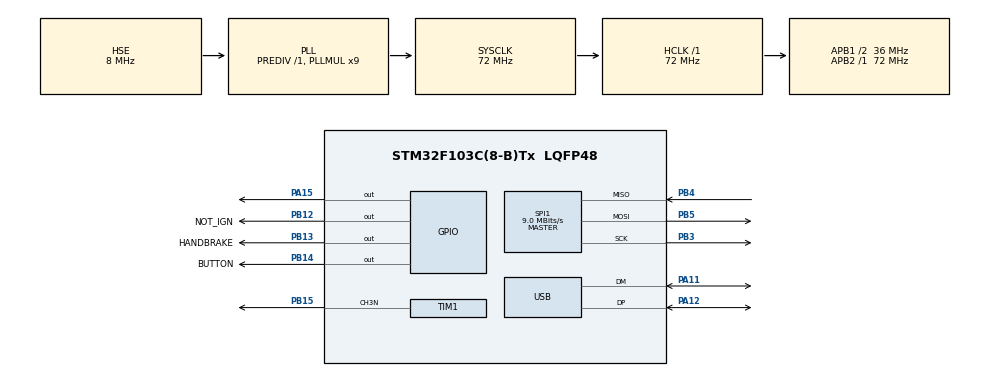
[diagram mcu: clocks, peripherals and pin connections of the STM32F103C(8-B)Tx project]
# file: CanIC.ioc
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Mcu.Family=STM32F1
PC15-OSC32_OUT.Mode=LSE-External-Oscillator
USB_DEVICE.CLASS_NAME_FS=CDC
PD1-OSC_OUT.Mode=HSE-External-Oscillator
SPI1.VirtualType=VM_MASTER
USB_DEVICE.VirtualModeFS=Cdc_FS
PB14.GPIO_Label=BUTTON
RCC.USBPrescaler=RCC_USBCLKSOURCE_PLL_DIV1_5
PA11.Mode=Device
PD0-OSC_IN.Signal=RCC_OSC_IN
RCC.APB1CLKDivider=RCC_HCLK_DIV2
PC14-OSC32_IN.Signal=RCC_OSC32_IN
PB13.GPIO_Label=HANDBRAKE
PB13.Signal=GPIO_Output
PB15.Signal=TIM1_CH3N
RCC.SYSCLKSource=RCC_SYSCLKSOURCE_PLLCLK
ProjectManager.StackSize=0x400
PD1-OSC_OUT.Signal=RCC_OSC_OUT
PA13.Signal=SYS_JTMS-SWDIO
PA12.Signal=USB_DP
ProjectManager.TargetToolchain=STM32CubeIDE
USB_DEVICE.PRODUCT_STRING_CDC_FS=CanIC
SPI1.Direction=SPI_DIRECTION_2LINES
RCC.HCLKFreq_Value=72000000
VP_USB_DEVICE_VS_USB_DEVICE_CDC_FS.Mode=CDC_FS
RCC.APB2TimFreq_Value=72000000
PB12.PinState=GPIO_PIN_SET
SPI1.CalculateBaudRate=9.0 MBits/s
RCC.USBFreq_Value=48000000
TIM1.Channel-PWM\ Generation3\ CH3N=TIM_CHANNEL_3
PC15-OSC32_OUT.Signal=RCC_OSC32_OUT
RCC.AHBFreq_Value=72000000
PD0-OSC_IN.Mode=HSE-External-Oscillator
TIM1.Pulse-PWM\ Generation3\ CH3N=3000
PB14.Signal=GPIO_Output
PB3.Mode=Full_Duplex_Master
board=custom
RCC.PLLMUL=RCC_PLL_MUL9
PB15.Mode=PWM Generation3 CH3N
PB12.GPIO_Label=NOT_IGN
PA15.PinState=GPIO_PIN_SET
RCC.APB2Freq_Value=72000000
PB4.Mode=Full_Duplex_Master
PC14-OSC32_IN.Mode=LSE-External-Oscillator
SPI1.Mode=SPI_MODE_MASTER
PA14.Mode=Serial_Wire
NVIC.USB_LP_CAN1_RX0_IRQn=true\:0\:0\:false\:false\:true\:true\:true
PB5.Mode=Full_Duplex_Master
PA13.Mode=Serial_Wire
Mcu.Name=STM32F103C(8-B)Tx
VP_TIM1_VS_ClockSourceINT.Mode=Internal
PB3.Signal=SPI1_SCK
RCC.SYSCLKFreq_VALUE=72000000
Mcu.Package=LQFP48
PB5.Signal=SPI1_MOSI
PA12.Mode=Device
PA15.GPIO_Speed=GPIO_SPEED_FREQ_MEDIUM
PA11.Signal=USB_DM
PA14.Signal=SYS_JTCK-SWCLK
PA15.Signal=GPIO_Output
ProjectManager.HeapSize=0x200
NVIC.PriorityGroup=NVIC_PRIORITYGROUP_4
PA15.GPIO_PuPd=GPIO_PULLUP
RCC.APB1TimFreq_Value=72000000
TIM1.Period=10000
RCC.APB1Freq_Value=36000000
SPI1.BaudRatePrescaler=SPI_BAUDRATEPRESCALER_8
USB_DEVICE.VirtualMode=Cdc
PB12.Signal=GPIO_Output
PB4.Signal=SPI1_MISO

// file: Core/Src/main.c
/* USER CODE BEGIN Header */
/**
  ******************************************************************************
  * @file           : main.c
  * @brief          : Main program body
  ******************************************************************************
  * @attention
  *
  * <h2><center>&copy; Copyright (c) 2021 STMicroelectronics.
  * All rights reserved.</center></h2>
  *
  * This software component is licensed by ST under BSD 3-Clause license,
  * the "License"; You may not use this file except in compliance with the
  * License. You may obtain a copy of the License at:
  *                        opensource.org/licenses/BSD-3-Clause
  *
  ******************************************************************************
  */
/* USER CODE END Header */
#include "main.h"
#include "usb_device.h"

/* USER CODE BEGIN Includes */
#include "CANSPI.h"

#include "sender.h"
#include "MCP2515.h"
/* USER CODE END Includes */

SPI_HandleTypeDef hspi1;

TIM_HandleTypeDef htim1;

/* USER CODE BEGIN PV */

uCAN_MSG txMessage;
uCAN_MSG rxMessage;
/* USER CODE END PV */

void SystemClock_Config(void);
static void MX_GPIO_Init(void);
static void MX_SPI1_Init(void);
static void MX_TIM1_Init(void);

int main(void)
{

  /* MCU Configuration--------------------------------------------------------*/

  /* Reset of all peripherals, Initializes the Flash interface and the Systick. */
  HAL_Init();

  /* USER CODE BEGIN Init */
  LoadCanFramesDefaultData();
  /* USER CODE END Init */

  /* Configure the system clock */
  SystemClock_Config();

  /* USER CODE BEGIN SysInit */

  /*workaround to reset usb after flash*/
   GPIO_InitTypeDef GPIO_InitStruct = {0};
   __HAL_RCC_GPIOA_CLK_ENABLE();
   HAL_GPIO_WritePin(GPIOA, GPIO_PIN_12, GPIO_PIN_RESET);
   GPIO_InitStruct.Pin = GPIO_PIN_12;
   GPIO_InitStruct.Mode = GPIO_MODE_OUTPUT_PP;
   GPIO_InitStruct.Pull = GPIO_PULLUP;
   GPIO_InitStruct.Speed = GPIO_SPEED_FREQ_MEDIUM;
   HAL_GPIO_Init(GPIOA, &GPIO_InitStruct);
   HAL_Delay(5);

  /* USER CODE END SysInit */

  /* Initialize all configured peripherals */
  MX_GPIO_Init();
  MX_SPI1_Init();
  MX_TIM1_Init();
  MX_USB_DEVICE_Init();
  /* USER CODE BEGIN 2 */

  /* fuel pwm */
  HAL_TIMEx_PWMN_Start(&htim1,TIM_CHANNEL_3);

  /* mcp reset solves issue that can is not running correctly */
  /*MCP2515_Reset();
  HAL_Delay(50);*/

  CANSPI_Initialize();

  HAL_GPIO_WritePin(NOT_IGN_GPIO_Port, NOT_IGN_Pin, GPIO_PIN_RESET);

  /* USER CODE END 2 */

  /* Infinite loop */
  while (1)
  {

    /* USER CODE BEGIN 3 */

    run();
  }
  /* USER CODE END 3 */
}

void SystemClock_Config(void)
{
  RCC_OscInitTypeDef RCC_OscInitStruct = {0};
  RCC_ClkInitTypeDef RCC_ClkInitStruct = {0};
  RCC_PeriphCLKInitTypeDef PeriphClkInit = {0};

  /** Initializes the RCC Oscillators according to the specified parameters
  * in the RCC_OscInitTypeDef structure.
  */
  RCC_OscInitStruct.OscillatorType = RCC_OSCILLATORTYPE_HSE;
  RCC_OscInitStruct.HSEState = RCC_HSE_ON;
  RCC_OscInitStruct.HSEPredivValue = RCC_HSE_PREDIV_DIV1;
  RCC_OscInitStruct.HSIState = RCC_HSI_ON;
  RCC_OscInitStruct.PLL.PLLState = RCC_PLL_ON;
  RCC_OscInitStruct.PLL.PLLSource = RCC_PLLSOURCE_HSE;
  RCC_OscInitStruct.PLL.PLLMUL = RCC_PLL_MUL9;
  if (HAL_RCC_OscConfig(&RCC_OscInitStruct) != HAL_OK)
  {
    Error_Handler();
  }
  /** Initializes the CPU, AHB and APB buses clocks
  */
  RCC_ClkInitStruct.ClockType = RCC_CLOCKTYPE_HCLK|RCC_CLOCKTYPE_SYSCLK
                              |RCC_CLOCKTYPE_PCLK1|RCC_CLOCKTYPE_PCLK2;
  RCC_ClkInitStruct.SYSCLKSource = RCC_SYSCLKSOURCE_PLLCLK;
  RCC_ClkInitStruct.AHBCLKDivider = RCC_SYSCLK_DIV1;
  RCC_ClkInitStruct.APB1CLKDivider = RCC_HCLK_DIV2;
  RCC_ClkInitStruct.APB2CLKDivider = RCC_HCLK_DIV1;

  if (HAL_RCC_ClockConfig(&RCC_ClkInitStruct, FLASH_LATENCY_2) != HAL_OK)
  {
    Error_Handler();
  }
  PeriphClkInit.PeriphClockSelection = RCC_PERIPHCLK_USB;
  PeriphClkInit.UsbClockSelection = RCC_USBCLKSOURCE_PLL_DIV1_5;
  if (HAL_RCCEx_PeriphCLKConfig(&PeriphClkInit) != HAL_OK)
  {
    Error_Handler();
  }
}

static void MX_SPI1_Init(void)
{

  /* SPI1 parameter configuration*/
  hspi1.Instance = SPI1;
  hspi1.Init.Mode = SPI_MODE_MASTER;
  hspi1.Init.Direction = SPI_DIRECTION_2LINES;
  hspi1.Init.DataSize = SPI_DATASIZE_8BIT;
  hspi1.Init.CLKPolarity = SPI_POLARITY_LOW;
  hspi1.Init.CLKPhase = SPI_PHASE_1EDGE;
  hspi1.Init.NSS = SPI_NSS_SOFT;
  hspi1.Init.BaudRatePrescaler = SPI_BAUDRATEPRESCALER_8;
  hspi1.Init.FirstBit = SPI_FIRSTBIT_MSB;
  hspi1.Init.TIMode = SPI_TIMODE_DISABLE;
  hspi1.Init.CRCCalculation = SPI_CRCCALCULATION_DISABLE;
  hspi1.Init.CRCPolynomial = 10;
  if (HAL_SPI_Init(&hspi1) != HAL_OK)
  {
    Error_Handler();
  }

}

static void MX_TIM1_Init(void)
{

  TIM_ClockConfigTypeDef sClockSourceConfig = {0};
  TIM_MasterConfigTypeDef sMasterConfig = {0};
  TIM_OC_InitTypeDef sConfigOC = {0};
  TIM_BreakDeadTimeConfigTypeDef sBreakDeadTimeConfig = {0};

  htim1.Instance = TIM1;
  htim1.Init.Prescaler = 0;
  htim1.Init.CounterMode = TIM_COUNTERMODE_UP;
  htim1.Init.Period = 10000;
  htim1.Init.ClockDivision = TIM_CLOCKDIVISION_DIV1;
  htim1.Init.RepetitionCounter = 0;
  htim1.Init.AutoReloadPreload = TIM_AUTORELOAD_PRELOAD_DISABLE;
  if (HAL_TIM_Base_Init(&htim1) != HAL_OK)
  {
    Error_Handler();
  }
  sClockSourceConfig.ClockSource = TIM_CLOCKSOURCE_INTERNAL;
  if (HAL_TIM_ConfigClockSource(&htim1, &sClockSourceConfig) != HAL_OK)
  {
    Error_Handler();
  }
  if (HAL_TIM_PWM_Init(&htim1) != HAL_OK)
  {
    Error_Handler();
  }
  sMasterConfig.MasterOutputTrigger = TIM_TRGO_RESET;
  sMasterConfig.MasterSlaveMode = TIM_MASTERSLAVEMODE_DISABLE;
  if (HAL_TIMEx_MasterConfigSynchronization(&htim1, &sMasterConfig) != HAL_OK)
  {
    Error_Handler();
  }
  sConfigOC.OCMode = TIM_OCMODE_PWM1;
  sConfigOC.Pulse = 3000;
  sConfigOC.OCPolarity = TIM_OCPOLARITY_HIGH;
  sConfigOC.OCNPolarity = TIM_OCNPOLARITY_HIGH;
  sConfigOC.OCFastMode = TIM_OCFAST_DISABLE;
  sConfigOC.OCIdleState = TIM_OCIDLESTATE_RESET;
  sConfigOC.OCNIdleState = TIM_OCNIDLESTATE_RESET;
  if (HAL_TIM_PWM_ConfigChannel(&htim1, &sConfigOC, TIM_CHANNEL_3) != HAL_OK)
  {
    Error_Handler();
  }
  sBreakDeadTimeConfig.OffStateRunMode = TIM_OSSR_DISABLE;
  sBreakDeadTimeConfig.OffStateIDLEMode = TIM_OSSI_DISABLE;
  sBreakDeadTimeConfig.LockLevel = TIM_LOCKLEVEL_OFF;
  sBreakDeadTimeConfig.DeadTime = 0;
  sBreakDeadTimeConfig.BreakState = TIM_BREAK_DISABLE;
  sBreakDeadTimeConfig.BreakPolarity = TIM_BREAKPOLARITY_HIGH;
  sBreakDeadTimeConfig.AutomaticOutput = TIM_AUTOMATICOUTPUT_DISABLE;
  if (HAL_TIMEx_ConfigBreakDeadTime(&htim1, &sBreakDeadTimeConfig) != HAL_OK)
  {
    Error_Handler();
  }
  HAL_TIM_MspPostInit(&htim1);

}

static void MX_GPIO_Init(void)
{
  GPIO_InitTypeDef GPIO_InitStruct = {0};

  /* GPIO Ports Clock Enable */
  __HAL_RCC_GPIOC_CLK_ENABLE();
  __HAL_RCC_GPIOD_CLK_ENABLE();
  __HAL_RCC_GPIOB_CLK_ENABLE();
  __HAL_RCC_GPIOA_CLK_ENABLE();

  /*Configure GPIO pin Output Level */
  HAL_GPIO_WritePin(NOT_IGN_GPIO_Port, NOT_IGN_Pin, GPIO_PIN_SET);

  /*Configure GPIO pin Output Level */
  HAL_GPIO_WritePin(GPIOB, HANDBRAKE_Pin|BUTTON_Pin, GPIO_PIN_RESET);

  /*Configure GPIO pin Output Level */
  HAL_GPIO_WritePin(GPIOA, GPIO_PIN_15, GPIO_PIN_SET);

  /*Configure GPIO pins : NOT_IGN_Pin HANDBRAKE_Pin BUTTON_Pin */
  GPIO_InitStruct.Pin = NOT_IGN_Pin|HANDBRAKE_Pin|BUTTON_Pin;
  GPIO_InitStruct.Mode = GPIO_MODE_OUTPUT_PP;
  GPIO_InitStruct.Pull = GPIO_NOPULL;
  GPIO_InitStruct.Speed = GPIO_SPEED_FREQ_LOW;
  HAL_GPIO_Init(GPIOB, &GPIO_InitStruct);

  /*Configure GPIO pin : PA15 */
  GPIO_InitStruct.Pin = GPIO_PIN_15;
  GPIO_InitStruct.Mode = GPIO_MODE_OUTPUT_PP;
  GPIO_InitStruct.Pull = GPIO_PULLUP;
  GPIO_InitStruct.Speed = GPIO_SPEED_FREQ_MEDIUM;
  HAL_GPIO_Init(GPIOA, &GPIO_InitStruct);

}

void Error_Handler(void)
{
  __disable_irq();
  while (1)
  {
  }
}

/************************ (C) COPYRIGHT STMicroelectronics *****END OF FILE****/
